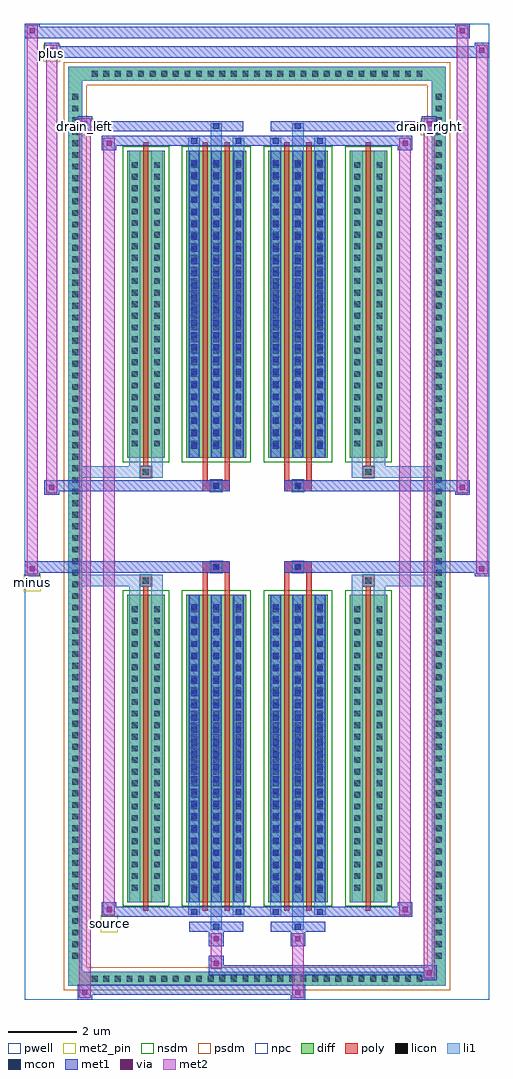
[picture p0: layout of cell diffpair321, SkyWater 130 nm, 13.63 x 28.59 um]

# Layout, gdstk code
import gdstk
lib = gdstk.Library(unit=1e-6, precision=5e-09)
def R(c, l, rs):  # rectangles x0, y0, x1, y1
    for r in rs: c.add(gdstk.rectangle(r[:2], r[2:], *l))
def A(c, l, x, y, w, h, nx, ny, dx, dy):  # array of equal rectangles
    R(c, l, [(x+i*dx, y+j*dy, x+i*dx+w, y+j*dy+h) for i in range(nx) for j in range(ny)])
def P(c, l, *ps):  # polygons
    for p in ps: c.add(gdstk.Polygon(p, *l))
pwell = (64, 44)
diff = (65, 20)
poly = (66, 20)
licon = (66, 44)
li1 = (67, 20)
mcon = (67, 44)
met1 = (68, 20)
via = (68, 44)
met2_pin = (69, 16)
met2 = (69, 20)
nsdm = (93, 44)
psdm = (94, 20)
npc = (95, 20)

diffpair321 = lib.new_cell('diffpair321')
R(diffpair321, pwell, [(-6.8,-13.86,6.8,14.73), (-4.12,-12.05,-0.01,-0.825), (0.01,-12.05,4.12,-0.825), (-4.12,0.825,-0.01,12.05), (0.01,0.825,4.12,12.05)])
A(diffpair321, diff, -4.965, -13.46, 0.41, 0.41, 29, 2, 0.34, 26.51)
A(diffpair321, diff, -5.53, -12.785, 0.41, 0.41, 1, 75, 0, 0.34)
A(diffpair321, diff, 5.12, -12.785, 0.41, 0.41, 1, 75, 0, 0.34)
R(diffpair321, diff, [(-4.965,-13.46,4.965,-13.05), (-5.53,-12.785,-5.12,12.785), (5.12,-12.785,5.53,12.785), (-3.81,-11.005,-2.71,-2.005), (-2.07,-11.005,-0.32,-2.005), (0.32,-11.005,2.07,-2.005), (2.71,-11.005,3.81,-2.005), (-3.81,2.005,-2.71,11.005), (-2.07,2.005,-0.32,11.005), (0.32,2.005,2.07,11.005), (2.71,2.005,3.81,11.005), (-4.965,13.05,4.965,13.46)])
P(diffpair321, diff, [(5.53,13.46),(-5.53,13.46),(-5.53,-13.05),(-5.12,-13.05),(-5.12,13.05),(5.12,13.05),(5.12,-13.05),(-5.12,-13.05),(-5.53,-13.05),(-5.53,-13.46),(5.53,-13.46)])
R(diffpair321, poly, [(-3.335,-11.255,-3.185,-1.755), (-1.595,-11.255,-1.445,-1.755), (-0.945,-11.255,-0.795,-1.755), (0.795,-11.255,0.945,-1.755), (1.445,-11.255,1.595,-1.755), (3.185,-11.255,3.335,-1.755), (-3.425,-1.755,-3.095,-1.425), (-3.425,-1.755,-3.095,-1.425), (-1.595,-1.755,-1.445,-1.355), (-0.945,-1.755,-0.795,-1.355), (0.795,-1.755,0.945,-1.355), (1.445,-1.755,1.595,-1.355), (3.095,-1.755,3.425,-1.425), (3.095,-1.755,3.425,-1.425), (-1.595,-1.355,-0.795,-1.025), (-1.36,-1.355,-1.03,-1.025), (0.795,-1.355,1.595,-1.025), (1.03,-1.355,1.36,-1.025), (-1.595,1.025,-0.795,1.355), (-1.36,1.025,-1.03,1.355), (0.795,1.025,1.595,1.355), (1.03,1.025,1.36,1.355), (-1.595,1.355,-1.445,1.755), (-0.945,1.355,-0.795,1.755), (0.795,1.355,0.945,1.755), (1.445,1.355,1.595,1.755), (-3.425,1.425,-3.095,1.755), (-3.425,1.425,-3.095,1.755), (3.095,1.425,3.425,1.755), (3.095,1.425,3.425,1.755), (-3.335,1.755,-3.185,11.255), (-1.595,1.755,-1.445,11.255), (-0.945,1.755,-0.795,11.255), (0.795,1.755,0.945,11.255), (1.445,1.755,1.595,11.255), (3.185,1.755,3.335,11.255)])
A(diffpair321, licon, -4.845, -13.34, 0.17, 0.17, 29, 2, 0.34, 26.51)
A(diffpair321, licon, -5.41, -12.665, 0.17, 0.17, 1, 75, 0, 0.34)
A(diffpair321, licon, 5.24, -12.665, 0.17, 0.17, 1, 75, 0, 0.34)
A(diffpair321, licon, -3.67, -10.67, 0.17, 0.17, 1, 25, 0, 0.34)
A(diffpair321, licon, -3.02, -10.67, 0.17, 0.17, 1, 25, 0, 0.34)
A(diffpair321, licon, -1.93, -10.67, 0.17, 0.17, 3, 25, 0.65, 0.34)
A(diffpair321, licon, 0.46, -10.67, 0.17, 0.17, 3, 25, 0.65, 0.34)
A(diffpair321, licon, 2.85, -10.67, 0.17, 0.17, 1, 25, 0, 0.34)
A(diffpair321, licon, 3.5, -10.67, 0.17, 0.17, 1, 25, 0, 0.34)
A(diffpair321, licon, -3.67, 2.34, 0.17, 0.17, 1, 25, 0, 0.34)
A(diffpair321, licon, -3.02, 2.34, 0.17, 0.17, 1, 25, 0, 0.34)
A(diffpair321, licon, -1.93, 2.34, 0.17, 0.17, 3, 25, 0.65, 0.34)
A(diffpair321, licon, 0.46, 2.34, 0.17, 0.17, 3, 25, 0.65, 0.34)
A(diffpair321, licon, 2.85, 2.34, 0.17, 0.17, 1, 25, 0, 0.34)
A(diffpair321, licon, 3.5, 2.34, 0.17, 0.17, 1, 25, 0, 0.34)
R(diffpair321, licon, [(-3.345,-1.675,-3.175,-1.505), (3.175,-1.675,3.345,-1.505), (-1.28,-1.275,-1.11,-1.105), (1.11,-1.275,1.28,-1.105), (-1.28,1.105,-1.11,1.275), (1.11,1.105,1.28,1.275), (-3.345,1.505,-3.175,1.675), (3.175,1.505,3.345,1.675)])
A(diffpair321, li1, -4.925, -13.42, 0.33, 0.33, 29, 2, 0.34, 26.51)
A(diffpair321, li1, -5.49, -12.745, 0.33, 0.33, 1, 75, 0, 0.34)
A(diffpair321, li1, 5.16, -12.745, 0.33, 0.33, 1, 75, 0, 0.34)
A(diffpair321, li1, -2.01, -11.005, 0.33, 9, 3, 2, 0.65, 13.01)
A(diffpair321, li1, 0.38, -11.005, 0.33, 9, 3, 2, 0.65, 13.01)
A(diffpair321, li1, -3.75, -10.75, 0.33, 0.33, 1, 25, 0, 0.34)
A(diffpair321, li1, -3.1, -10.75, 0.33, 0.33, 1, 25, 0, 0.34)
A(diffpair321, li1, -2.01, -10.75, 0.33, 0.33, 3, 25, 0.65, 0.34)
A(diffpair321, li1, 0.38, -10.75, 0.33, 0.33, 3, 25, 0.65, 0.34)
A(diffpair321, li1, 2.77, -10.75, 0.33, 0.33, 1, 25, 0, 0.34)
A(diffpair321, li1, 3.42, -10.75, 0.33, 0.33, 1, 25, 0, 0.34)
A(diffpair321, li1, -1.93, -10.73, 0.17, 0.17, 3, 24, 0.65, 0.36)
A(diffpair321, li1, -1.93, -10.73, 0.17, 8.45, 3, 2, 0.65, 13.01)
A(diffpair321, li1, 0.46, -10.73, 0.17, 0.17, 3, 24, 0.65, 0.36)
A(diffpair321, li1, 0.46, -10.73, 0.17, 8.45, 3, 2, 0.65, 13.01)
A(diffpair321, li1, -3.75, 2.26, 0.33, 0.33, 1, 25, 0, 0.34)
A(diffpair321, li1, -3.1, 2.26, 0.33, 0.33, 1, 25, 0, 0.34)
A(diffpair321, li1, -2.01, 2.26, 0.33, 0.33, 3, 25, 0.65, 0.34)
A(diffpair321, li1, 0.38, 2.26, 0.33, 0.33, 3, 25, 0.65, 0.34)
A(diffpair321, li1, 2.77, 2.26, 0.33, 0.33, 1, 25, 0, 0.34)
A(diffpair321, li1, 3.42, 2.26, 0.33, 0.33, 1, 25, 0, 0.34)
A(diffpair321, li1, -1.93, 2.28, 0.17, 0.17, 3, 24, 0.65, 0.36)
A(diffpair321, li1, 0.46, 2.28, 0.17, 0.17, 3, 24, 0.65, 0.36)
R(diffpair321, li1, [(-5.53,-13.46,-5.12,-13.05), (-5.53,-13.46,-5.12,-13.05), (-5.12,-13.46,5.12,-13.05), (5.12,-13.46,5.53,-13.05), (5.12,-13.46,5.53,-13.05), (-5.53,-13.05,-5.12,13.05), (5.12,-13.05,5.53,13.05), (-1.36,-11.81,-1.03,-11.005), (-1.28,-11.81,-1.11,-11.64), (1.03,-11.81,1.36,-11.005), (1.11,-11.81,1.28,-11.64), (-2.01,-11.38,-1.68,-11.005), (-1.93,-11.38,-1.76,-11.21), (-0.71,-11.38,-0.38,-11.005), (-0.63,-11.38,-0.46,-11.21), (0.38,-11.38,0.71,-11.005), (0.46,-11.38,0.63,-11.21), (1.68,-11.38,2.01,-11.005), (1.76,-11.38,1.93,-11.21), (-3.75,-11.005,-3.42,-2.005), (-3.1,-11.005,-2.77,-2.005), (2.77,-11.005,3.1,-2.005), (3.42,-11.005,3.75,-2.005), (-3.75,-2.005,-3.42,-1.425), (-3.1,-2.005,-2.77,-1.425), (2.77,-2.005,3.1,-1.425), (3.42,-2.005,3.75,-1.425), (-5.53,-1.755,-3.425,-1.425), (-3.75,-1.755,-3.425,-1.425), (-3.425,-1.755,-3.095,-1.425), (-3.095,-1.755,-2.77,-1.425), (2.77,-1.755,3.095,-1.425), (3.095,-1.755,3.425,-1.425), (3.095,-1.755,5.53,-1.425), (3.425,-1.755,3.75,-1.425), (-1.36,-1.355,-1.03,-1.025), (1.03,-1.355,1.36,-1.025), (-1.36,1.025,-1.03,1.355), (1.03,1.025,1.36,1.355), (-5.53,1.425,-3.425,1.755), (-3.75,1.425,-3.425,1.755), (-3.75,1.425,-3.42,2.005), (-3.425,1.425,-3.095,1.755), (-3.1,1.425,-2.77,2.005), (-3.095,1.425,-2.77,1.755), (2.77,1.425,3.095,1.755), (2.77,1.425,3.1,2.005), (3.095,1.425,3.425,1.755), (3.095,1.425,5.53,1.755), (3.42,1.425,3.75,2.005), (3.425,1.425,3.75,1.755), (-3.75,2.005,-3.42,11.005), (-3.1,2.005,-2.77,11.005), (2.77,2.005,3.1,11.005), (3.42,2.005,3.75,11.005), (-2.01,11.005,-1.68,11.38), (-1.36,11.005,-1.03,11.81), (-0.71,11.005,-0.38,11.38), (0.38,11.005,0.71,11.38), (1.03,11.005,1.36,11.81), (1.68,11.005,2.01,11.38), (-1.93,11.21,-1.76,11.38), (-0.63,11.21,-0.46,11.38), (0.46,11.21,0.63,11.38), (1.76,11.21,1.93,11.38), (-1.28,11.64,-1.11,11.81), (1.11,11.64,1.28,11.81), (-5.53,13.05,-5.12,13.46), (-5.53,13.05,-5.12,13.46), (-5.12,13.05,5.12,13.46), (5.12,13.05,5.53,13.46), (5.12,13.05,5.53,13.46)])
A(diffpair321, mcon, -1.93, -10.73, 0.17, 0.17, 3, 24, 0.65, 0.36)
A(diffpair321, mcon, 0.46, -10.73, 0.17, 0.17, 3, 24, 0.65, 0.36)
A(diffpair321, mcon, -1.93, 2.28, 0.17, 0.17, 3, 24, 0.65, 0.36)
A(diffpair321, mcon, 0.46, 2.28, 0.17, 0.17, 3, 24, 0.65, 0.36)
R(diffpair321, mcon, [(-1.28,-11.81,-1.11,-11.64), (1.11,-11.81,1.28,-11.64), (-1.93,-11.38,-1.76,-11.21), (-0.63,-11.38,-0.46,-11.21), (0.46,-11.38,0.63,-11.21), (1.76,-11.38,1.93,-11.21), (-1.28,-1.275,-1.11,-1.105), (1.11,-1.275,1.28,-1.105), (-1.28,1.105,-1.11,1.275), (1.11,1.105,1.28,1.275), (-1.93,11.21,-1.76,11.38), (-0.63,11.21,-0.46,11.38), (0.46,11.21,0.63,11.38), (1.76,11.21,1.93,11.38), (-1.28,11.64,-1.11,11.81), (1.11,11.64,1.28,11.81)])
A(diffpair321, met1, -1.99, -11.005, 0.29, 9, 3, 2, 0.65, 13.01)
A(diffpair321, met1, 0.4, -11.005, 0.29, 9, 3, 2, 0.65, 13.01)
A(diffpair321, met1, -1.99, -10.79, 0.29, 0.29, 3, 24, 0.65, 0.36)
A(diffpair321, met1, 0.4, -10.79, 0.29, 0.29, 3, 24, 0.65, 0.36)
A(diffpair321, met1, -1.99, 2.22, 0.29, 0.29, 3, 24, 0.65, 0.36)
A(diffpair321, met1, 0.4, 2.22, 0.29, 0.29, 3, 24, 0.65, 0.36)
R(diffpair321, met1, [(-5.26,-13.86,-4.83,-13.43), (0.98,-13.86,1.41,-13.43), (-5.26,-13.72,1.41,-13.43), (4.83,-13.29,5.26,-12.86), (-1.41,-13.15,5.26,-12.86), (-1.41,-13.01,-0.98,-12.58), (-1.41,-12.3,-0.98,-11.87), (0.98,-12.3,1.41,-11.87), (-1.99,-11.87,-0.4,-11.58), (-1.34,-11.87,-1.05,-11.58), (0.4,-11.87,1.99,-11.58), (1.05,-11.87,1.34,-11.58), (-4.55,-11.44,-4.12,-11.01), (-4.55,-11.44,-1.99,-11.15), (-1.99,-11.44,-1.7,-11.15), (-1.99,-11.44,-0.4,-11.15), (-0.69,-11.44,-0.4,-11.15), (-0.4,-11.44,0.4,-11.15), (0.4,-11.44,0.69,-11.15), (0.4,-11.44,1.99,-11.15), (1.7,-11.44,1.99,-11.15), (1.99,-11.44,4.55,-11.15), (4.12,-11.44,4.55,-11.01), (-6.8,-1.455,-6.37,-1.025), (6.37,-1.455,6.8,-1.025), (-6.8,-1.355,-0.795,-1.025), (-1.595,-1.355,-0.795,-1.025), (0.795,-1.355,1.595,-1.025), (0.795,-1.355,6.8,-1.025), (-1.34,-1.335,-1.05,-1.045), (1.05,-1.335,1.34,-1.045), (-6.23,0.925,-5.8,1.355), (5.8,0.925,6.23,1.355), (-6.23,1.025,-1.595,1.355), (-1.595,1.025,-0.795,1.355), (0.795,1.025,1.595,1.355), (1.595,1.025,6.23,1.355), (-1.34,1.045,-1.05,1.335), (1.05,1.045,1.34,1.335), (-4.55,11.01,-4.12,11.44), (4.12,11.01,4.55,11.44), (-4.55,11.15,-1.99,11.44), (-1.99,11.15,-1.7,11.44), (-1.99,11.15,-0.4,11.44), (-0.69,11.15,-0.4,11.44), (-0.4,11.15,0.4,11.44), (0.4,11.15,0.69,11.44), (0.4,11.15,1.99,11.44), (1.7,11.15,1.99,11.44), (1.99,11.15,4.55,11.44), (-5.26,11.58,-4.83,12.01), (-5.26,11.58,-1.99,11.87), (-1.99,11.58,-0.4,11.87), (-1.34,11.58,-1.05,11.87), (0.4,11.58,1.99,11.87), (1.05,11.58,1.34,11.87), (1.99,11.58,5.26,11.87), (4.83,11.58,5.26,12.01), (-6.23,13.73,-5.8,14.16), (-6.23,13.73,-4.12,14.06), (-4.12,13.73,4.12,14.06), (4.12,13.73,6.8,14.06), (6.37,13.73,6.8,14.16), (-6.8,14.3,-6.37,14.73), (-6.8,14.3,-4.12,14.63), (-4.12,14.3,4.12,14.63), (4.12,14.3,6.23,14.63), (5.8,14.3,6.23,14.73)])
R(diffpair321, via, [(-5.12,-13.72,-4.97,-13.57), (1.12,-13.72,1.27,-13.57), (4.97,-13.15,5.12,-13), (-1.27,-12.87,-1.12,-12.72), (-1.27,-12.16,-1.12,-12.01), (1.12,-12.16,1.27,-12.01), (-4.41,-11.3,-4.26,-11.15), (4.26,-11.3,4.41,-11.15), (-6.66,-1.315,-6.51,-1.165), (6.51,-1.315,6.66,-1.165), (-6.09,1.065,-5.94,1.215), (5.94,1.065,6.09,1.215), (-4.41,11.15,-4.26,11.3), (4.26,11.15,4.41,11.3), (-5.12,11.72,-4.97,11.87), (4.97,11.72,5.12,11.87), (-6.09,13.87,-5.94,14.02), (6.51,13.87,6.66,14.02), (-6.66,14.44,-6.51,14.59), (5.94,14.44,6.09,14.59)])
R(diffpair321, met2_pin, [(-4.585,-11.89,-4.085,-11.39), (-6.835,-1.905,-6.335,-1.405), (-5.295,11.46,-4.795,11.96), (4.795,11.46,5.295,11.96), (-6.265,13.61,-5.765,14.11)])
R(diffpair321, met2, [(-5.21,-13.81,-4.88,-13.48), (-5.21,-13.81,-4.88,11.96), (1.03,-13.81,1.36,-13.48), (1.03,-13.48,1.36,-12.25), (4.88,-13.24,5.21,-12.91), (4.88,-13.24,5.21,11.96), (-1.36,-12.96,-1.03,-12.63), (-1.36,-12.63,-1.03,-12.25), (-1.36,-12.25,-1.03,-11.92), (1.03,-12.25,1.36,-11.92), (-4.5,-11.39,-4.17,-11.06), (-4.5,-11.39,-4.17,11.39), (4.17,-11.39,4.5,-11.06), (4.17,-11.39,4.5,11.39), (-6.75,-1.405,-6.42,-1.075), (-6.75,-1.405,-6.42,14.68), (6.42,-1.405,6.75,-1.075), (6.42,-1.405,6.75,14.11), (-6.18,0.975,-5.85,1.305), (-6.18,0.975,-5.85,14.11), (5.85,0.975,6.18,1.305), (5.85,0.975,6.18,14.68), (-4.5,11.06,-4.17,11.39), (4.17,11.06,4.5,11.39), (-5.21,11.63,-4.88,11.96), (4.88,11.63,5.21,11.96), (-6.18,13.78,-5.85,14.11), (6.42,13.78,6.75,14.11), (-6.75,14.35,-6.42,14.68), (5.85,14.35,6.18,14.68)])
P(diffpair321, met2, [(6.75,-1.405),(6.75,-1.405),(6.75,-1.075),(6.75,-1.075)],
  [(6.75,13.78),(6.75,13.78),(6.75,14.11),(6.75,14.11)],
  [(-6.42,-1.405),(-6.42,-1.405),(-6.42,-1.075),(-6.42,-1.075)],
  [(-6.42,14.35),(-6.42,14.35),(-6.42,14.68),(-6.42,14.68)],
  [(6.18,0.975),(6.18,0.975),(6.18,1.305),(6.18,1.305)],
  [(6.18,14.35),(6.18,14.35),(6.18,14.68),(6.18,14.68)],
  [(-5.85,0.975),(-5.85,0.975),(-5.85,1.305),(-5.85,1.305)],
  [(-5.85,13.78),(-5.85,13.78),(-5.85,14.11),(-5.85,14.11)],
  [(-4.88,-13.81),(-4.88,-13.81),(-4.88,-13.48),(-4.88,-13.48)],
  [(-4.88,11.63),(-4.88,11.63),(-4.88,11.96),(-4.88,11.96)],
  [(5.21,-13.24),(5.21,-13.24),(5.21,-12.91),(5.21,-12.91)],
  [(5.21,11.63),(5.21,11.63),(5.21,11.96),(5.21,11.96)],
  [(-4.17,-11.39),(-4.17,-11.39),(-4.17,-11.06),(-4.17,-11.06)],
  [(-4.17,11.06),(-4.17,11.06),(-4.17,11.39),(-4.17,11.39)],
  [(4.5,-11.39),(4.5,-11.39),(4.5,-11.06),(4.5,-11.06)],
  [(4.5,11.06),(4.5,11.06),(4.5,11.39),(4.5,11.39)])
R(diffpair321, nsdm, [(-3.94,-11.135,-2.58,-1.875), (-2.2,-11.135,-0.19,-1.875), (0.19,-11.135,2.2,-1.875), (2.58,-11.135,3.94,-1.875), (-3.94,1.875,-2.58,11.135), (-2.2,1.875,-0.19,11.135), (0.19,1.875,2.2,11.135), (2.58,1.875,3.94,11.135)])
P(diffpair321, psdm, [(5.66,13.59),(-5.66,13.59),(-5.66,-12.92),(-4.99,-12.92),(-4.99,12.92),(4.99,12.92),(4.99,-12.92),(-4.99,-12.92),(-5.66,-12.92),(-5.66,-13.59),(5.66,-13.59)])
R(diffpair321, npc, [(-3.445,-1.775,-3.075,-1.405), (3.075,-1.775,3.445,-1.405), (-1.38,-1.375,-1.01,-1.005), (1.01,-1.375,1.38,-1.005), (-1.38,1.005,-1.01,1.375), (1.01,1.005,1.38,1.375), (-3.445,1.405,-3.075,1.775), (3.075,1.405,3.445,1.775)])
diffpair321.add(gdstk.Label('minus', (-6.585,-1.655), layer=69, texttype=5))
diffpair321.add(gdstk.Label('drain_right', (5.045,11.71), layer=69, texttype=5))
diffpair321.add(gdstk.Label('drain_left', (-5.045,11.71), layer=69, texttype=5))
diffpair321.add(gdstk.Label('source', (-4.335,-11.64), layer=69, texttype=5))
diffpair321.add(gdstk.Label('plus', (-6.015,13.86), layer=69, texttype=5))

lib.write_gds('diffpair321.gds')
